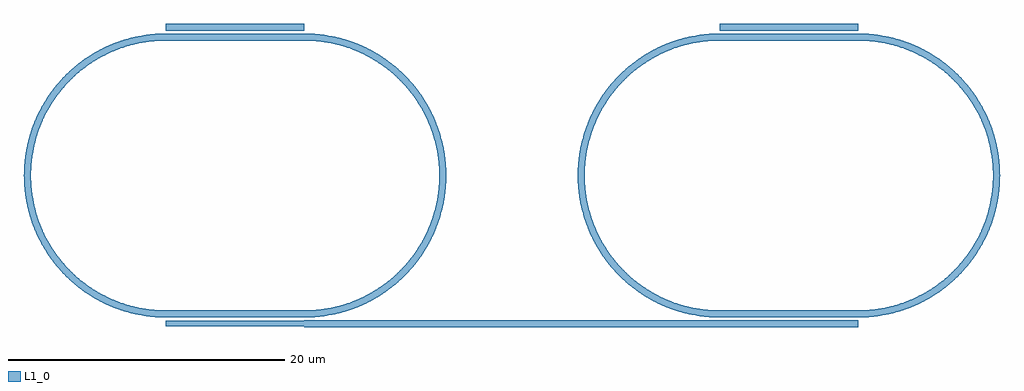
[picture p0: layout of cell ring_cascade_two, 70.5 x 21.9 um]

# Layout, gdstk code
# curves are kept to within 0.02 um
from math import pi, radians
import gdstk
lib = gdstk.Library(unit=1e-6, precision=1e-09)
def R(c, l, rs):  # rectangles x0, y0, x1, y1
    for r in rs: c.add(gdstk.rectangle(r[:2], r[2:], *l))
def P(c, l, *ps):  # polygons
    for p in ps: c.add(gdstk.Polygon(p, *l))
L1_0 = (1, 0)

ring_half_wu0p5_ru10 = lib.new_cell('ring_half_WU0p5_RU10')
P(ring_half_wu0p5_ru10, L1_0, [(0,-0.25),(0,0.25),(1.063,0.308),(2.238,0.51),(3.299,0.825),(4.28,1.239),(5.028,1.646),(5.738,2.117),(6.468,2.704),(7.051,3.266),(7.638,3.94),(8.161,4.665),(8.675,5.549),(9.062,6.402),(9.317,7.125),(9.558,8.074),(9.699,9.001),(9.75,9.936),(9.715,10.83),(9.598,11.716),(9.389,12.63),(9.078,13.558),(8.675,14.451),(8.276,15.155),(7.743,15.926),(7.051,16.734),(6.468,17.296),(5.841,17.807),(5.137,18.287),(4.394,18.704),(3.379,19.146),(2.238,19.49),(1.063,19.692),(0,19.75),(0,20.25),(0.09,20.25),(1.073,20.194),(2.002,20.053),(3.044,19.788),(3.928,19.468),(4.858,19.026),(5.702,18.518),(6.458,17.96),(7.256,17.24),(7.974,16.441),(8.555,15.646),(9.078,14.759),(9.493,13.866),(9.846,12.851),(10.074,11.892),(10.217,10.828),(10.25,9.933),(10.201,8.994),(10.021,7.844),(9.768,6.892),(9.442,6.01),(8.994,5.083),(8.43,4.169),(7.889,3.455),(7.224,2.728),(6.458,2.04),(5.702,1.482),(4.858,0.974),(3.928,0.532),(3.044,0.212),(2.002,-0.053),(0.984,-0.203)])

straight_gdsfactorypcomp = lib.new_cell('straight_gdsfactorypcomponentspwaveguidespstraight_L10__8e980daf$2$1')
R(straight_gdsfactorypcomp, L1_0, [(0,-0.2,10,0.201)])

c_straight_gdsfactorypcomp = lib.new_cell('straight_gdsfactorypcomponentspwaveguidespstraight_L10__8e980daf')
R(c_straight_gdsfactorypcomp, L1_0, [(0,-0.25,10,0.25)])

parallel_coupler_wu0p5_g = lib.new_cell('parallel_coupler_WU0p5_GU0p2_CLU10$2$1')
parallel_coupler_wu0p5_g.add(gdstk.Reference(straight_gdsfactorypcomp, (0,0)))
parallel_coupler_wu0p5_g.add(gdstk.Reference(c_straight_gdsfactorypcomp, (0,0.7)))

c_parallel_coupler_wu0p5_g = lib.new_cell('parallel_coupler_WU0p5_GU0p2_CLU10')
c_parallel_coupler_wu0p5_g.add(gdstk.Reference(c_straight_gdsfactorypcomp, (0,0)))
c_parallel_coupler_wu0p5_g.add(gdstk.Reference(c_straight_gdsfactorypcomp, (0,0.7)))

stage0_1_1 = lib.new_cell('STAGE0$1$1')
stage0_1_1.add(gdstk.Reference(ring_half_wu0p5_ru10, (10,0.7)))
stage0_1_1.add(gdstk.Reference(ring_half_wu0p5_ru10, (0,20.7), rotation=pi))
stage0_1_1.add(gdstk.Reference(parallel_coupler_wu0p5_g, (0,0)))
stage0_1_1.add(gdstk.Reference(c_parallel_coupler_wu0p5_g, (10,21.4), rotation=pi))

ring_half_wu0p5_ru10_1 = lib.new_cell('ring_half_WU0p5_RU10$1')
P(ring_half_wu0p5_ru10_1, L1_0, [(0,-0.25),(0,0.25),(1.063,0.308),(2.238,0.51),(3.299,0.825),(4.28,1.239),(5.028,1.646),(5.738,2.117),(6.468,2.704),(7.051,3.266),(7.638,3.94),(8.161,4.665),(8.675,5.549),(9.062,6.402),(9.317,7.125),(9.558,8.074),(9.699,9.001),(9.75,9.936),(9.715,10.83),(9.598,11.716),(9.389,12.63),(9.078,13.558),(8.675,14.451),(8.276,15.155),(7.743,15.926),(7.051,16.734),(6.468,17.296),(5.841,17.807),(5.137,18.287),(4.394,18.704),(3.379,19.146),(2.238,19.49),(1.063,19.692),(0,19.75),(0,20.25),(0.09,20.25),(1.073,20.194),(2.002,20.053),(3.044,19.788),(3.928,19.468),(4.858,19.026),(5.702,18.518),(6.458,17.96),(7.256,17.24),(7.974,16.441),(8.555,15.646),(9.078,14.759),(9.493,13.866),(9.846,12.851),(10.074,11.892),(10.217,10.828),(10.25,9.933),(10.201,8.994),(10.021,7.844),(9.768,6.892),(9.442,6.01),(8.994,5.083),(8.43,4.169),(7.889,3.455),(7.224,2.728),(6.458,2.04),(5.702,1.482),(4.858,0.974),(3.928,0.532),(3.044,0.212),(2.002,-0.053),(0.984,-0.203)])

c_straight_gdsfactorypcomp_ = lib.new_cell('straight_gdsfactorypcomponentspwaveguidespstraight_L10__8e980daf$1')
R(c_straight_gdsfactorypcomp_, L1_0, [(0,-0.25,10,0.25)])

c_parallel_coupler_wu0p5_g_ = lib.new_cell('parallel_coupler_WU0p5_GU0p2_CLU10$1')
c_parallel_coupler_wu0p5_g_.add(gdstk.Reference(c_straight_gdsfactorypcomp_, (0,0)))
c_parallel_coupler_wu0p5_g_.add(gdstk.Reference(c_straight_gdsfactorypcomp_, (0,0.7)))

stage1 = lib.new_cell('STAGE1')
stage1.add(gdstk.Reference(ring_half_wu0p5_ru10_1, (10,0.7)))
stage1.add(gdstk.Reference(ring_half_wu0p5_ru10_1, (0,20.7), rotation=pi))
stage1.add(gdstk.Reference(c_parallel_coupler_wu0p5_g_, (0,0)))
stage1.add(gdstk.Reference(c_parallel_coupler_wu0p5_g_, (10,21.4), rotation=pi))

ring_cascade_two = lib.new_cell('ring_cascade_two')
ring_cascade_two.add(gdstk.FlexPath([(10,0),(40,0)], 0.5, ends="flush", simple_path=True, layer=1, datatype=0))  # L1_0
ring_cascade_two.add(gdstk.Reference(stage0_1_1, (0,0)))
ring_cascade_two.add(gdstk.Reference(stage1, (40,0)))

lib.write_gds('ring_cascade_two.gds')
